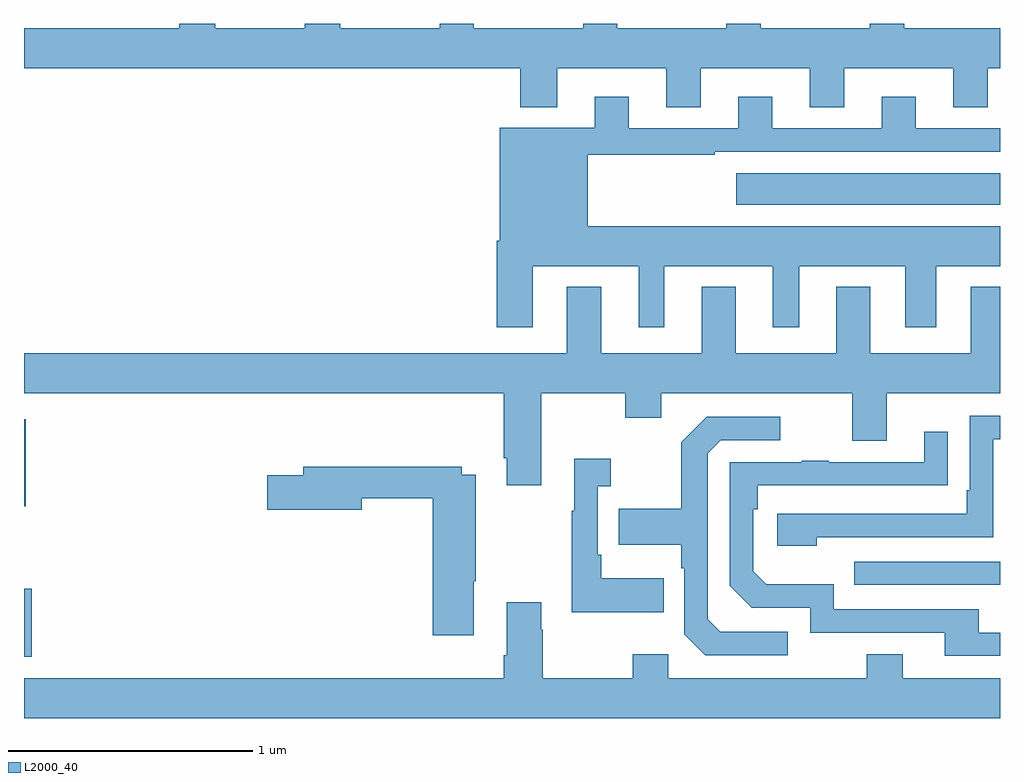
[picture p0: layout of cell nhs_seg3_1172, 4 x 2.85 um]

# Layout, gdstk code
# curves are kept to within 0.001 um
import gdstk
lib = gdstk.Library(unit=1e-6, precision=1e-09)
def R(c, l, rs):  # rectangles x0, y0, x1, y1
    for r in rs: c.add(gdstk.rectangle(r[:2], r[2:], *l))
def P(c, l, *ps):  # polygons
    for p in ps: c.add(gdstk.Polygon(p, *l))
L2000_40 = (2000, 40)

nhs_seg3_1172 = lib.new_cell('nhs_seg3_1172')
R(nhs_seg3_1172, L2000_40, [(171,731.805,171.032,732.084), (174.403,732.099,175,732.195), (171,732.422,171.008,732.778), (173.919,733.658,175,733.786)])
P(nhs_seg3_1172, L2000_40, [(173.773,734.216),(174.221,734.216),(174.221,734.056),(174.361,734.056),(174.361,734.216),(174.809,734.216),(174.809,734.056),(174.949,734.056),(174.949,734.216),(175,734.216),(175,734.38),(174.607,734.38),(174.607,734.4),(174.467,734.4),(174.467,734.38),(174.019,734.38),(174.019,734.4),(173.879,734.4),(173.879,734.38),(173.431,734.38),(173.431,734.4),(173.291,734.4),(173.291,734.38),(172.843,734.38),(172.843,734.4),(172.703,734.4),(172.703,734.38),(172.297,734.38),(172.297,734.4),(172.15,734.4),(172.15,734.38),(171.783,734.38),(171.783,734.4),(171.636,734.4),(171.636,734.38),(171,734.38),(171,734.216),(173.033,734.216),(173.033,734.057),(173.185,734.057),(173.185,734.216),(173.633,734.216),(173.633,734.056),(173.773,734.056)],
  [(173.086,733.406),(173.519,733.406),(173.519,733.155),(173.623,733.155),(173.623,733.406),(174.068,733.406),(174.068,733.155),(174.178,733.155),(174.178,733.406),(174.611,733.406),(174.611,733.155),(174.739,733.155),(174.739,733.406),(175,733.406),(175,733.57),(173.311,733.57),(173.311,733.863),(173.831,733.863),(173.831,733.875),(175,733.875),(175,733.971),(174.655,733.971),(174.655,734.101),(174.515,734.101),(174.515,733.971),(174.067,733.971),(174.067,734.101),(173.927,734.101),(173.927,733.971),(173.479,733.971),(173.479,734.101),(173.339,734.101),(173.339,733.972),(172.949,733.972),(172.949,733.51),(172.937,733.51),(172.937,733.155),(173.086,733.155)],
  [(173.119,732.884),(173.464,732.884),(173.464,732.785),(173.611,732.785),(173.611,732.884),(174.395,732.884),(174.395,732.69),(174.535,732.69),(174.535,732.884),(175,732.884),(175,733.321),(174.881,733.321),(174.881,733.048),(174.469,733.048),(174.469,733.321),(174.329,733.321),(174.329,733.048),(173.917,733.048),(173.917,733.321),(173.777,733.321),(173.777,733.048),(173.365,733.048),(173.365,733.321),(173.225,733.321),(173.225,733.048),(171,733.048),(171,732.884),(172.967,732.884),(172.967,732.619),(172.979,732.619),(172.979,732.507),(173.119,732.507)],
  [(174.248,732.294),(174.972,732.294),(174.972,732.696),(175,732.696),(175,732.792),(174.876,732.792),(174.876,732.487),(174.863,732.487),(174.863,732.39),(174.087,732.39),(174.087,732.26),(174.248,732.26)],
  [(174.13,731.907),(173.853,731.907),(173.802,731.958),(173.802,732.639),(173.856,732.693),(174.1,732.693),(174.1,732.789),(173.799,732.789),(173.694,732.683),(173.694,732.411),(173.437,732.411),(173.437,732.263),(173.694,732.263),(173.694,732.167),(173.706,732.167),(173.706,731.898),(173.793,731.811),(174.13,731.811)],
  [(175,731.904),(174.913,731.904),(174.913,732),(174.318,732),(174.318,732.103),(174.041,732.103),(173.988,732.156),(173.988,732.41),(174.008,732.41),(174.008,732.507),(174.785,732.508),(174.785,732.727),(174.689,732.727),(174.689,732.603),(174.299,732.603),(174.299,732.608),(174.187,732.608),(174.187,732.603),(173.892,732.603),(173.892,732.096),(173.982,732.006),(174.222,732.006),(174.222,731.904),(174.773,731.904),(174.773,731.808),(175,731.808)],
  [(173.621,732.127),(173.365,732.127),(173.365,732.223),(173.352,732.223),(173.352,732.503),(173.404,732.503),(173.404,732.616),(173.255,732.616),(173.255,732.403),(173.244,732.403),(173.244,731.987),(173.621,731.987)],
  [(172.843,732.115),(172.851,732.115),(172.851,732.55),(172.794,732.55),(172.794,732.583),(172.145,732.583),(172.145,732.549),(171.996,732.549),(171.996,732.407),(172.384,732.407),(172.384,732.454),(172.676,732.454),(172.676,731.892),(172.843,731.892)],
  [(175,731.716),(174.601,731.716),(174.601,731.815),(174.454,731.815),(174.454,731.716),(173.64,731.716),(173.64,731.815),(173.494,731.815),(173.494,731.716),(173.127,731.716),(173.127,731.915),(173.119,731.915),(173.119,732.028),(172.979,732.028),(172.979,731.812),(172.967,731.812),(172.967,731.716),(171,731.716),(171,731.552),(175,731.552)])

lib.write_gds('nhs_seg3_1172.gds')
